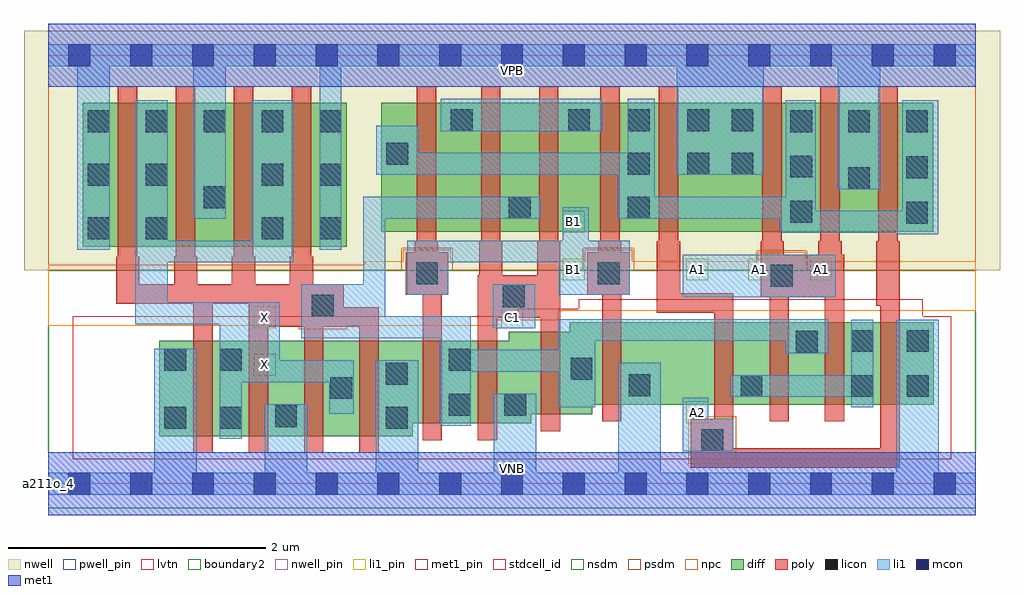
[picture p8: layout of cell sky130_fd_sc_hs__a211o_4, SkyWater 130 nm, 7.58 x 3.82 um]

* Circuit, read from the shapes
.subckt sky130_fd_sc_hs__a211o_4 A1 A2 B1 C1 VGND VNB VPB VPWR X
XM1 X n1 VGND VNB sky130_fd_pr__nfet_01v8_lvt w=0.74 l=0.15 m=4
XM2 n1 B1 VGND VNB sky130_fd_pr__nfet_01v8_lvt w=0.64 l=0.15 m=2
XM3 VGND C1 n1 VNB sky130_fd_pr__nfet_01v8_lvt w=0.64 l=0.15 m=2
XM4 n2 A2 VGND VNB sky130_fd_pr__nfet_01v8_lvt w=0.64 l=0.15 m=2
XM5 n1 A1 n2 VNB sky130_fd_pr__nfet_01v8_lvt w=0.64 l=0.15 m=2
XM6 X n1 VPWR VPB sky130_fd_pr__pfet_01v8 w=1.12 l=0.15 m=4
XM7 n3 B1 n4 VPB sky130_fd_pr__pfet_01v8 w=1 l=0.15 m=2
XM8 n1 C1 n3 VPB sky130_fd_pr__pfet_01v8 w=1 l=0.15 m=2
XM9 VPWR A2 n4 VPB sky130_fd_pr__pfet_01v8 w=1 l=0.15 m=2
XM10 n4 A1 VPWR VPB sky130_fd_pr__pfet_01v8 w=1 l=0.15 m=2
.ends

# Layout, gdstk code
import gdstk
lib = gdstk.Library(unit=1e-6, precision=1e-09)
def R(c, l, rs):  # rectangles x0, y0, x1, y1
    for r in rs: c.add(gdstk.rectangle(r[:2], r[2:], *l))
def A(c, l, x, y, w, h, nx, ny, dx, dy):  # array of equal rectangles
    R(c, l, [(x+i*dx, y+j*dy, x+i*dx+w, y+j*dy+h) for i in range(nx) for j in range(ny)])
def P(c, l, *ps):  # polygons
    for p in ps: c.add(gdstk.Polygon(p, *l))
nwell_pin = (64, 16)
nwell = (64, 20)
diff = (65, 20)
poly = (66, 20)
licon = (66, 44)
li1_pin = (67, 16)
li1 = (67, 20)
mcon = (67, 44)
met1_pin = (68, 16)
met1 = (68, 20)
stdcell_id = (81, 4)
nsdm = (93, 44)
psdm = (94, 20)
npc = (95, 20)
pwell_pin = (122, 16)
lvtn = (125, 44)
boundary2 = (236, 0)

sky130_fd_sc_hs__a211o_4 = lib.new_cell('sky130_fd_sc_hs__a211o_4')
R(sky130_fd_sc_hs__a211o_4, nwell_pin, [(0,3.085,7.2,3.33)])
R(sky130_fd_sc_hs__a211o_4, nwell, [(-0.19,1.66,7.39,3.52)])
R(sky130_fd_sc_hs__a211o_4, diff, [(0.265,1.84,2.315,2.96), (2.585,1.96,6.87,2.96)])
P(sky130_fd_sc_hs__a211o_4, diff, [(6.875,1.255),(4.05,1.255),(4.05,1.18),(3.575,1.18),(3.575,1.11),(0.86,1.11),(0.86,0.37),(2.83,0.37),(2.83,0.47),(3.75,0.47),(3.75,0.54),(4.225,0.54),(4.225,0.615),(6.875,0.615)])
P(sky130_fd_sc_hs__a211o_4, poly, [(6.61,1.885),(6.595,1.885),(6.595,3.09),(6.445,3.09),(6.445,1.885),(6.43,1.885),(6.43,1.385),(6.46,1.385),(6.46,0.275),(5.32,0.275),(5.32,1.48),(4.905,1.48),(4.905,1.885),(4.89,1.885),(4.89,3.09),(4.74,3.09),(4.74,1.885),(4.725,1.885),(4.725,1.33),(5.17,1.33),(5.17,0.505),(4.99,0.505),(4.99,0.125),(6.61,0.125)],
  [(6.18,1.78),(6.16,1.78),(6.16,1.885),(6.145,1.885),(6.145,3.09),(5.995,3.09),(5.995,1.885),(5.98,1.885),(5.98,1.78),(5.71,1.78),(5.71,1.885),(5.695,1.885),(5.695,3.09),(5.545,3.09),(5.545,1.885),(5.53,1.885),(5.53,1.45),(5.6,1.45),(5.6,0.485),(5.75,0.485),(5.75,1.45),(6.03,1.45),(6.03,0.485),(6.18,0.485)],
  [(4.515,1.8),(4.45,1.8),(4.45,1.885),(4.435,1.885),(4.435,3.09),(4.285,3.09),(4.285,1.885),(4.27,1.885),(4.27,1.8),(4.185,1.8),(4.185,1.47),(4.3,1.47),(4.3,0.485),(4.45,0.485),(4.45,1.47),(4.515,1.47)],
  [(3.975,1.885),(3.96,1.885),(3.96,3.09),(3.81,3.09),(3.81,1.885),(3.795,1.885),(3.795,1.62),(3.525,1.62),(3.525,1.885),(3.51,1.885),(3.51,3.09),(3.36,3.09),(3.36,1.885),(3.345,1.885),(3.345,1.62),(3.335,1.62),(3.335,0.34),(3.485,0.34),(3.485,1.29),(3.825,1.29),(3.825,0.41),(3.975,0.41)],
  [(3.105,1.8),(3.025,1.8),(3.025,1.885),(3.01,1.885),(3.01,3.09),(2.86,3.09),(2.86,1.885),(2.845,1.885),(2.845,1.8),(2.775,1.8),(2.775,1.47),(2.905,1.47),(2.905,0.34),(3.055,0.34),(3.055,1.47),(3.105,1.47)],
  [(2.565,1.37),(2.295,1.37),(2.295,1.55),(2.055,1.55),(2.055,1.765),(2.04,1.765),(2.04,3.09),(1.89,3.09),(1.89,1.765),(1.875,1.765),(1.875,1.55),(1.605,1.55),(1.605,1.765),(1.59,1.765),(1.59,3.09),(1.44,3.09),(1.44,1.765),(1.425,1.765),(1.425,1.55),(1.155,1.55),(1.155,1.765),(1.14,1.765),(1.14,3.09),(0.99,3.09),(0.99,1.765),(0.975,1.765),(0.975,1.55),(0.705,1.55),(0.705,1.765),(0.69,1.765),(0.69,3.09),(0.54,3.09),(0.54,1.765),(0.525,1.765),(0.525,1.4),(1.125,1.4),(1.125,0.24),(1.275,0.24),(1.275,1.4),(1.555,1.4),(1.555,0.24),(1.705,0.24),(1.705,1.22),(1.985,1.22),(1.985,0.24),(2.135,0.24),(2.135,1.22),(2.415,1.22),(2.415,0.24),(2.565,0.24)])
A(sky130_fd_sc_hs__a211o_4, licon, 4.5, 2.06, 0.17, 0.17, 1, 3, 0, 0.34)
A(sky130_fd_sc_hs__a211o_4, licon, 0.305, 2.73, 0.17, 0.17, 5, 1, 0.45, 0)
A(sky130_fd_sc_hs__a211o_4, licon, 5.76, 2.73, 0.17, 0.17, 3, 1, 0.45, 0)
R(sky130_fd_sc_hs__a211o_4, licon, [(5.07,0.255,5.24,0.425), (0.9,0.43,1.07,0.6), (1.33,0.43,1.5,0.6), (2.62,0.43,2.79,0.6), (1.76,0.44,1.93,0.61), (3.11,0.53,3.28,0.7), (3.54,0.53,3.71,0.7), (2.19,0.66,2.36,0.83), (5.375,0.675,5.545,0.845), (6.235,0.675,6.405,0.845), (6.665,0.675,6.835,0.845), (4.505,0.68,4.675,0.85), (2.62,0.77,2.79,0.94), (4.055,0.81,4.225,0.98), (0.9,0.88,1.07,1.05), (1.33,0.88,1.5,1.05), (3.11,0.88,3.28,1.05), (5.805,1.02,5.975,1.19), (6.235,1.025,6.405,1.195), (6.665,1.025,6.835,1.195), (2.045,1.3,2.215,1.47), (3.53,1.37,3.7,1.54), (5.61,1.53,5.78,1.7), (2.855,1.55,3.025,1.72), (4.265,1.55,4.435,1.72), (0.305,1.9,0.475,2.07), (0.755,1.9,0.925,2.07), (1.655,1.9,1.825,2.07), (2.105,1.9,2.275,2.07), (6.66,2.02,6.83,2.19), (5.76,2.03,5.93,2.2), (3.575,2.06,3.745,2.23), (1.205,2.14,1.375,2.31), (6.21,2.29,6.38,2.46), (0.305,2.315,0.475,2.485), (0.755,2.315,0.925,2.485), (1.655,2.315,1.825,2.485), (2.105,2.315,2.275,2.485), (6.66,2.375,6.83,2.545), (5.76,2.38,5.93,2.55), (4.96,2.4,5.13,2.57), (5.305,2.4,5.475,2.57), (2.625,2.48,2.795,2.65), (3.125,2.74,3.295,2.91), (4.035,2.74,4.205,2.91), (4.96,2.74,5.13,2.91), (5.305,2.74,5.475,2.91)])
A(sky130_fd_sc_hs__a211o_4, li1_pin, 4.955, 1.58, 0.17, 0.17, 3, 1, 0.48, 0)
R(sky130_fd_sc_hs__a211o_4, li1_pin, [(4.955,0.47,5.125,0.64), (1.595,0.84,1.765,1.01), (1.595,1.21,1.765,1.38), (3.515,1.21,3.685,1.38), (3.995,1.58,4.165,1.75), (3.995,1.95,4.165,2.12)])
R(sky130_fd_sc_hs__a211o_4, li1, [(3.45,1.21,3.78,1.55), (4.925,1.45,6.115,1.78), (3.045,2.74,4.3,2.99)])
P(sky130_fd_sc_hs__a211o_4, li1, [(2.105,1.82),(2.105,3.245),(1.375,3.245),(1.375,2.06),(1.125,2.06),(1.125,3.245),(0.475,3.245),(0.475,1.82),(0.225,1.82),(0.225,3.245),(0,3.245),(0,3.415),(7.2,3.415),(7.2,3.245),(6.46,3.245),(6.46,2.29),(6.13,2.29),(6.13,3.245),(5.555,3.245),(5.555,2.4),(4.88,2.4),(4.88,3.245),(2.275,3.245),(2.275,1.82)],
  [(0.82,0.085),(0.82,1.05),(1.15,1.05),(1.15,0.085),(1.68,0.085),(1.68,0.62),(2.01,0.62),(2.01,0.085),(2.54,0.085),(2.54,0.96),(2.87,0.96),(2.87,0.085),(3.46,0.085),(3.46,0.7),(3.79,0.7),(3.79,0.085),(4.425,0.085),(4.425,0.94),(4.755,0.94),(4.755,0.085),(6.585,0.085),(6.585,1.275),(6.915,1.275),(6.915,0.085),(7.2,0.085),(7.2,-0.085),(0,-0.085),(0,0.085)],
  [(1.795,0.96),(2.37,0.96),(2.37,0.545),(2.18,0.545),(2.18,0.79),(1.5,0.79),(1.5,0.35),(1.33,0.35),(1.33,1.24),(0.675,1.24),(0.675,2.98),(0.925,2.98),(0.925,1.89),(1.575,1.89),(1.575,2.98),(1.905,2.98),(1.905,1.72),(0.925,1.72),(0.925,1.41),(1.795,1.41)],
  [(3.965,1.47),(3.965,1.72),(3.105,1.72),(3.105,1.47),(2.785,1.47),(2.785,1.89),(3.995,1.89),(3.995,2.15),(4.195,2.15),(4.195,1.89),(4.515,1.89),(4.515,1.47)],
  [(4.925,0.255),(4.925,0.67),(5.125,0.67),(5.125,0.505),(5.32,0.505),(5.32,0.255)],
  [(2.615,1.3),(3.28,1.3),(3.28,1.04),(3.96,1.04),(3.96,1.28),(6.055,1.28),(6.055,1.015),(5.725,1.015),(5.725,1.11),(4.245,1.11),(4.245,0.595),(3.96,0.595),(3.96,0.87),(3.28,0.87),(3.28,0.45),(3.04,0.45),(3.04,1.13),(1.965,1.13),(1.965,1.55),(2.445,1.55),(2.445,2.23),(3.825,2.23),(3.825,2.06),(2.615,2.06)],
  [(6.91,2.98),(6.63,2.98),(6.63,2.12),(5.96,2.12),(5.96,2.98),(5.725,2.98),(5.725,2.23),(4.71,2.23),(4.71,2.99),(4.5,2.99),(4.5,2.57),(2.875,2.57),(2.875,2.78),(2.545,2.78),(2.545,2.4),(4.42,2.4),(4.42,2.06),(5.68,2.06),(5.68,1.95),(6.58,1.95),(6.58,1.94),(6.91,1.94)],
  [(6.235,0.595),(6.235,0.675),(5.295,0.675),(5.295,0.845),(6.235,0.845),(6.235,1.275),(6.405,1.275),(6.405,0.595)])
A(sky130_fd_sc_hs__a211o_4, mcon, 0.155, -0.085, 0.17, 0.17, 15, 2, 0.48, 3.33)
R(sky130_fd_sc_hs__a211o_4, met1_pin, [(0,0,7.2,0.245), (0,3.085,7.2,3.33)])
R(sky130_fd_sc_hs__a211o_4, met1, [(0,-0.245,7.2,0.245), (0,3.085,7.2,3.575)])
R(sky130_fd_sc_hs__a211o_4, stdcell_id, [(0,0,7.2,3.33)])
R(sky130_fd_sc_hs__a211o_4, nsdm, [(0,-0.19,7.2,1.66)])
P(sky130_fd_sc_hs__a211o_4, psdm, [(7.2,3.52),(0,3.52),(0,1.66),(2.745,1.66),(2.745,1.83),(3.135,1.83),(3.135,1.66),(4.155,1.66),(4.155,1.83),(4.545,1.83),(4.545,1.66),(5.5,1.66),(5.5,1.81),(5.89,1.81),(5.89,1.66),(7.2,1.66)])
R(sky130_fd_sc_hs__a211o_4, npc, [(4.97,0.155,5.34,0.525)])
P(sky130_fd_sc_hs__a211o_4, npc, [(7.2,1.73),(5.88,1.73),(5.88,1.8),(5.51,1.8),(5.51,1.73),(4.535,1.73),(4.535,1.82),(4.165,1.82),(4.165,1.73),(3.125,1.73),(3.125,1.82),(2.755,1.82),(2.755,1.73),(2.455,1.73),(2.455,1.7),(0,1.7),(0,1.23),(1.945,1.23),(1.945,1.2),(2.315,1.2),(2.315,1.23),(3.485,1.23),(3.485,1.27),(3.96,1.27),(3.96,1.345),(7.2,1.345)])
R(sky130_fd_sc_hs__a211o_4, pwell_pin, [(0,0,7.2,0.245)])
P(sky130_fd_sc_hs__a211o_4, lvtn, [(7.01,1.3),(6.79,1.3),(6.79,1.435),(4.12,1.435),(4.12,1.36),(3.645,1.36),(3.645,1.3),(0.19,1.3),(0.19,0.19),(7.01,0.19)])
R(sky130_fd_sc_hs__a211o_4, boundary2, [(0,0,7.2,3.33)])
sky130_fd_sc_hs__a211o_4.add(gdstk.Label('a211o_4', (0,0), layer=83, texttype=44))
sky130_fd_sc_hs__a211o_4.add(gdstk.Label('VNB', (3.6,0.123), layer=64, texttype=59))
sky130_fd_sc_hs__a211o_4.add(gdstk.Label('VPB', (3.6,3.208), layer=64, texttype=5))
sky130_fd_sc_hs__a211o_4.add(gdstk.Label('VPWR', (3.6,3.208), layer=68, texttype=5))
sky130_fd_sc_hs__a211o_4.add(gdstk.Label('VGND', (3.6,0.123), layer=68, texttype=5))
sky130_fd_sc_hs__a211o_4.add(gdstk.Label('X', (1.68,0.925), layer=67, texttype=5))
sky130_fd_sc_hs__a211o_4.add(gdstk.Label('X', (1.68,1.295), layer=67, texttype=5))
sky130_fd_sc_hs__a211o_4.add(gdstk.Label('C1', (3.6,1.295), layer=67, texttype=5))
sky130_fd_sc_hs__a211o_4.add(gdstk.Label('B1', (4.08,1.665), layer=67, texttype=5))
sky130_fd_sc_hs__a211o_4.add(gdstk.Label('B1', (4.08,2.035), layer=67, texttype=5))
sky130_fd_sc_hs__a211o_4.add(gdstk.Label('A2', (5.04,0.555), layer=67, texttype=5))
sky130_fd_sc_hs__a211o_4.add(gdstk.Label('A1', (5.04,1.665), layer=67, texttype=5))
sky130_fd_sc_hs__a211o_4.add(gdstk.Label('A1', (5.52,1.665), layer=67, texttype=5))
sky130_fd_sc_hs__a211o_4.add(gdstk.Label('A1', (6,1.665), layer=67, texttype=5))

lib.write_gds('sky130_fd_sc_hs__a211o_4.gds')
